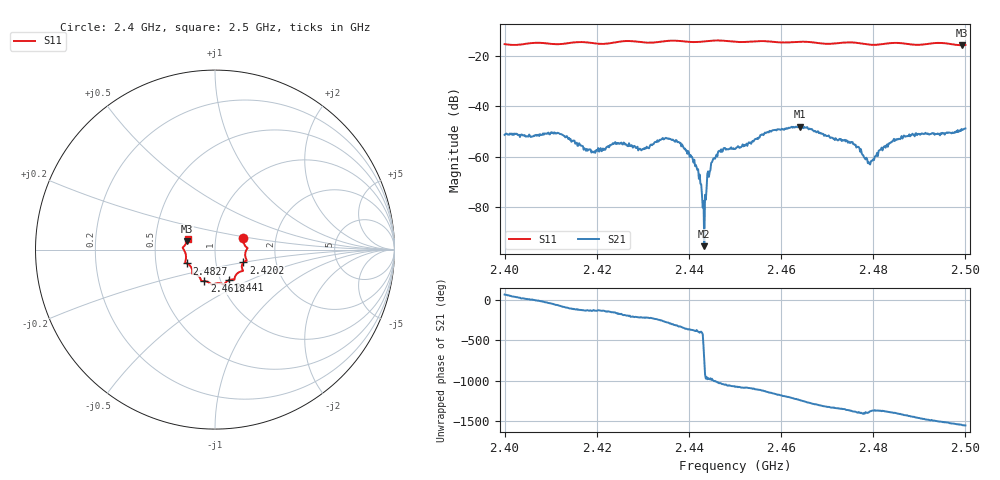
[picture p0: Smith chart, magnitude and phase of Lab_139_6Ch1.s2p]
# Hz S RI R 50
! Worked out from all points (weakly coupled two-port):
!   601 points, 2.4 GHz to 2.5 GHz, reference 50 ohm
!   highest |S21| = -48.02 dB at 2.464 GHz (marker M1); lowest = -95.3 dB at 2.4433 GHz (marker M2)
!   lowest |S11| = -15.8 dB at 2.4992 GHz (marker M3), VSWR 1.39, Z = 36.4 + j3.65 ohm
!   |S11| at or under -10 dB: start of sweep to end of sweep
!   S12 and S22 are empty: the file has one direction only
!   S11 on the Smith chart (normalised r, x): 2.4 GHz: 1.36, +0.18; 2.4202 GHz: 1.36, -0.20; 2.441 GHz: 1.10, -0.39; 2.4618 GHz: 0.84, -0.30; 2.4827 GHz: 0.72, -0.11; 2.5 GHz: 0.73, +0.09
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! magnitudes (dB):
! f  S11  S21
! 2.4 GHz  -15.4  -51.3
! 2.4113 GHz  -15.4  -50.7
! 2.4167 GHz  -14.5  -55.6
! 2.4202 GHz  -15.2  -57.6
! 2.4243 GHz  -14.5  -54.4
! 2.4302 GHz  -14.7  -57.0
! 2.4333 GHz  -14.5  -54.0
! 2.4377 GHz  -14.1  -54.1
! 2.441 GHz  -14.6  -62.3
! 2.4433 GHz  -14.3  -95.3
! 2.4445 GHz  -14.1  -65.9
! 2.4453 GHz  -14.0  -60.6
! 2.45 GHz  -14.4  -56.9
! 2.4618 GHz  -14.7  -48.5
! 2.464 GHz  -14.4  -48.0
! 2.4667 GHz  -14.6  -49.0
! 2.4757 GHz  -14.7  -55.0
! 2.4793 GHz  -15.6  -63.0
! 2.4827 GHz  -15.2  -56.3
! 2.4833 GHz  -15.0  -54.7
! 2.4992 GHz  -15.8  -49.0
! 2.5 GHz  -15.7  -48.8
